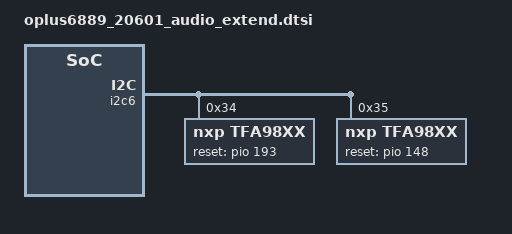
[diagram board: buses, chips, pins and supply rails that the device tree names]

&audio_extend {
	//for nxp speaker
	oplus,speaker-vendor = "nxp";
	oplus,speaker-i2s-id = <3>;
	oplus,speaker-i2s-id-in = <0>;
	oplus,speaker-codec-name = "tfa98xx.6-0034","tfa98xx.6-0035";
	oplus,speaker-codec-dai-name = "tfa98xx-aif-6-34","tfa98xx-aif-6-35";
};

&i2c6 {
	tfa98xx: tfa98xx@34 {
		compatible = "nxp,tfa98xx";
		reg = <0x34>;
		reset-gpio = <&pio 193 0>;
		tfa_min_range = <5000>;
		tfa_max_range = <8000>;
		status = "okay";
	};

	tfa98xx@35 {
		compatible = "nxp,tfa98xx";
		reg = <0x35>;
		reset-gpio = <&pio 148 0>;
		tfa_min_range = <5000>;
		tfa_max_range = <8000>;
		status = "okay";
	};
};

&sound {
	mtk_spk_i2s_in = <9>;
};
//#endif /*OPLUS_ARCH_EXTENDS*/
